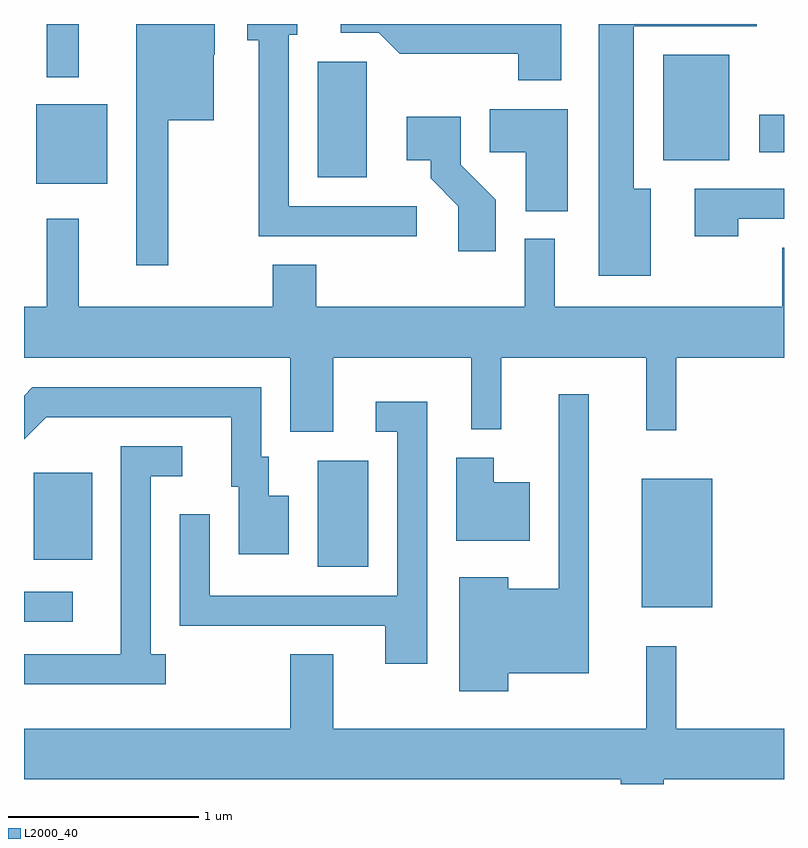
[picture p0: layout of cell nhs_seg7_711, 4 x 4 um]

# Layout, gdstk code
import gdstk
lib = gdstk.Library(unit=1e-6, precision=1e-09)
def R(c, l, rs):  # rectangles x0, y0, x1, y1
    for r in rs: c.add(gdstk.rectangle(r[:2], r[2:], *l))
def P(c, l, *ps):  # polygons
    for p in ps: c.add(gdstk.Polygon(p, *l))
L2000_40 = (2000, 40)

nhs_seg7_711 = lib.new_cell('nhs_seg7_711')
R(nhs_seg7_711, L2000_40, [(205.611,1755.106,205.868,1755.264), (208.861,1755.181,209.234,1755.859), (207.156,1755.396,207.424,1755.954), (205.661,1755.431,205.969,1755.889), (205.676,1757.411,206.049,1757.829), (207.156,1757.446,207.414,1758.054), (208.976,1757.536,209.324,1758.089), (209.481,1757.576,209.611,1757.774), (205.731,1757.973,205.899,1758.252)])
P(nhs_seg7_711, L2000_40, [(208.439,1758.252),(207.278,1758.252),(207.278,1758.206),(207.479,1758.206),(207.589,1758.096),(208.211,1758.096),(208.211,1757.956),(208.439,1757.956)],
  [(206.369,1757.746),(206.609,1757.746),(206.609,1758.09),(206.614,1758.09),(206.614,1758.252),(206.201,1758.252),(206.201,1756.983),(206.369,1756.983)],
  [(207.678,1757.294),(207.004,1757.294),(207.004,1758.196),(207.049,1758.196),(207.049,1758.252),(206.786,1758.252),(206.786,1758.166),(206.846,1758.166),(206.846,1757.136),(207.678,1757.136)],
  [(208.909,1757.384),(208.819,1757.384),(208.819,1758.241),(209.468,1758.241),(209.468,1758.252),(208.636,1758.252),(208.636,1756.926),(208.909,1756.926)],
  [(208.474,1757.804),(208.061,1757.804),(208.061,1757.576),(208.251,1757.576),(208.251,1757.266),(208.474,1757.266)],
  [(208.094,1757.327),(207.909,1757.512),(207.909,1757.764),(207.626,1757.764),(207.626,1757.536),(207.751,1757.536),(207.751,1757.439),(207.896,1757.294),(207.896,1757.056),(208.094,1757.056)],
  [(209.369,1757.226),(209.611,1757.226),(209.611,1757.384),(209.141,1757.384),(209.141,1757.136),(209.369,1757.136)],
  [(208.404,1757.123),(208.246,1757.123),(208.246,1756.764),(207.149,1756.764),(207.149,1756.984),(206.921,1756.984),(206.921,1756.764),(205.899,1756.764),(205.899,1757.228),(205.731,1757.228),(205.731,1756.764),(205.611,1756.764),(205.611,1756.496),(207.011,1756.496),(207.011,1756.106),(207.239,1756.106),(207.239,1756.496),(207.966,1756.496),(207.966,1756.118),(208.124,1756.118),(208.124,1756.496),(208.886,1756.496),(208.886,1756.113),(209.044,1756.113),(209.044,1756.496),(209.611,1756.496),(209.611,1757.074),(209.601,1757.074),(209.601,1756.764),(208.404,1756.764)],
  [(207.004,1755.769),(206.899,1755.769),(206.899,1755.974),(206.859,1755.974),(206.859,1756.339),(205.654,1756.339),(205.611,1756.296),(205.611,1756.066),(205.727,1756.181),(206.701,1756.181),(206.701,1755.816),(206.741,1755.816),(206.741,1755.461),(207.004,1755.461)],
  [(208.159,1754.836),(208.584,1754.836),(208.584,1756.303),(208.426,1756.303),(208.426,1755.279),(208.159,1755.279),(208.159,1755.339),(207.901,1755.339),(207.901,1754.741),(208.159,1754.741)],
  [(207.734,1756.264),(207.463,1756.264),(207.463,1756.106),(207.576,1756.106),(207.576,1755.244),(206.589,1755.244),(206.589,1755.673),(206.431,1755.673),(206.431,1755.086),(207.511,1755.086),(207.511,1754.886),(207.734,1754.886)],
  [(206.358,1754.934),(206.279,1754.934),(206.279,1755.871),(206.443,1755.871),(206.443,1756.029),(206.121,1756.029),(206.121,1754.934),(205.611,1754.934),(205.611,1754.776),(206.358,1754.776)],
  [(208.274,1755.839),(208.084,1755.839),(208.084,1755.969),(207.886,1755.969),(207.886,1755.531),(208.274,1755.531)],
  [(208.979,1754.276),(209.611,1754.276),(209.611,1754.544),(209.044,1754.544),(209.044,1754.978),(208.886,1754.978),(208.886,1754.544),(207.239,1754.544),(207.239,1754.934),(207.011,1754.934),(207.011,1754.544),(205.611,1754.544),(205.611,1754.276),(208.751,1754.276),(208.751,1754.252),(208.979,1754.252)])

lib.write_gds('nhs_seg7_711.gds')
